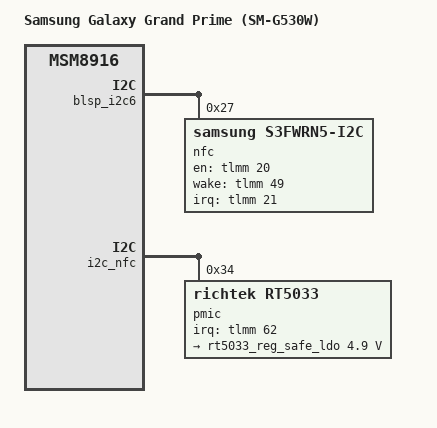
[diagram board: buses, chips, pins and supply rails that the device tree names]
// SPDX-License-Identifier: GPL-2.0-only

/dts-v1/;

#include "msm8916-samsung-fortuna-common.dtsi"

/ {
	model = "Samsung Galaxy Grand Prime (SM-G530W)";
	compatible = "samsung,gprimeltecan", "qcom,msm8916";
	chassis-type = "handset";

	reserved-memory {
		/* Firmware for gprimeltecan needs more space */
		/delete-node/ tz-apps@85a00000;

		/* Additional memory used by Samsung firmware modifications */
		tz-apps@85500000 {
			reg = <0x0 0x85500000 0x0 0xb00000>;
			no-map;
		};
	};
};

&battery {
	charge-term-current-microamp = <200000>;
	constant-charge-current-max-microamp = <1000000>;
	constant-charge-voltage-max-microvolt = <4350000>;
};

&bosch_accel {
	status = "okay";
};

&bosch_magn {
	status = "okay";
};

&blsp_i2c6 {
	/* pmic@34 is on i2c_nfc instead */
	/delete-node/ pmic@34;

	nfc@27 {
		compatible = "samsung,s3fwrn5-i2c";
		reg = <0x27>;

		interrupts-extended = <&tlmm 21 IRQ_TYPE_EDGE_RISING>;

		en-gpios = <&tlmm 20 GPIO_ACTIVE_HIGH>;
		wake-gpios = <&tlmm 49 GPIO_ACTIVE_HIGH>;

		clocks = <&rpmcc RPM_SMD_BB_CLK2_PIN>;

		pinctrl-0 = <&nfc_default>, <&nfc_clk_req>;
		pinctrl-names = "default";
	};
};

&i2c_nfc {
	/* nfc@27 is on &blsp_i2c6 */

	pmic@34 {
		compatible = "richtek,rt5033";
		reg = <0x34>;

		interrupts-extended = <&tlmm 62 IRQ_TYPE_EDGE_FALLING>;

		pinctrl-0 = <&pmic_int_default>;
		pinctrl-names = "default";

		regulators {
			rt5033_reg_safe_ldo: SAFE_LDO {
				regulator-min-microvolt = <4900000>;
				regulator-max-microvolt = <4900000>;
				regulator-always-on;
			};

			/*
			 * Needed for camera, but not used yet.
			 * Define empty nodes to allow disabling the unused
			 * regulators.
			 */
			LDO {};
			BUCK {};
		};

		charger: charger {
			compatible = "richtek,rt5033-charger";
			monitored-battery = <&battery>;
			richtek,usb-connector = <&usb_con>;
		};
	};
};

&mpss_mem {
	/* Firmware for gprimeltecan needs more space */
	reg = <0x0 0x86800000 0x0 0x5400000>;
};
